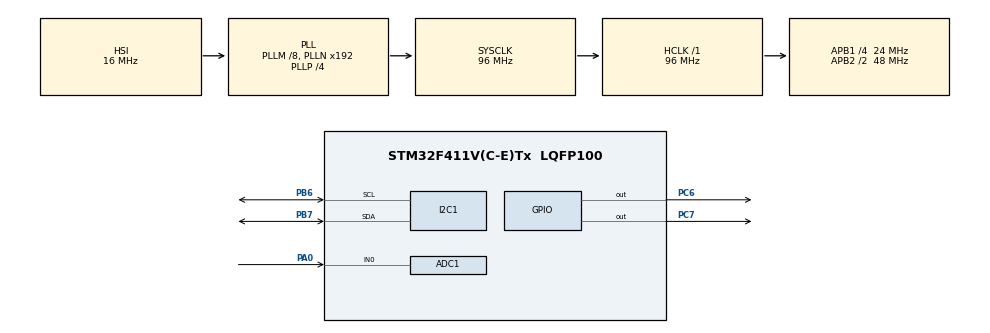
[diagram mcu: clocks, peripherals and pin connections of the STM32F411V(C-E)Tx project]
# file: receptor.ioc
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ADC1.Channel-0\#ChannelRegularConversion=ADC_CHANNEL_0
ADC1.NbrOfConversionFlag=1
ADC1.Rank-0\#ChannelRegularConversion=1
ADC1.SamplingTime-0\#ChannelRegularConversion=ADC_SAMPLETIME_3CYCLES
ADC1.master=1
Mcu.Family=STM32F4
Mcu.Name=STM32F411V(C-E)Tx
Mcu.Package=LQFP100
NVIC.PriorityGroup=NVIC_PRIORITYGROUP_0
PA0-WKUP.Signal=ADCx_IN0
PB6.Mode=I2C
PB6.Signal=I2C1_SCL
PB7.Mode=I2C
PB7.Signal=I2C1_SDA
PC6.Signal=GPIO_Output
PC7.Signal=GPIO_Output
ProjectManager.HeapSize=0x200
ProjectManager.StackSize=0x400
ProjectManager.TargetToolchain=STM32CubeIDE
RCC.48MHZClocksFreq_Value=48000000
RCC.AHBFreq_Value=96000000
RCC.APB1CLKDivider=RCC_HCLK_DIV4
RCC.APB1Freq_Value=24000000
RCC.APB1TimFreq_Value=48000000
RCC.APB2CLKDivider=RCC_HCLK_DIV2
RCC.APB2Freq_Value=48000000
RCC.APB2TimFreq_Value=96000000
RCC.CortexFreq_Value=96000000
RCC.HCLKFreq_Value=96000000
RCC.HSE_VALUE=8000000
RCC.HSI_VALUE=16000000
RCC.LSE_VALUE=32768
RCC.PLLI2SM=5
RCC.PLLI2SN=200
RCC.PLLM=8
RCC.PLLP=RCC_PLLP_DIV4
RCC.PLLQ=8
RCC.SYSCLKFreq_VALUE=96000000
RCC.SYSCLKSource=RCC_SYSCLKSOURCE_PLLCLK
RCC.VCOOutputFreq_Value=384000000
SH.ADCx_IN0.0=ADC1_IN0,IN0
board=STM32F411E-DISCO

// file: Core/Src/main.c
/* USER CODE BEGIN Header */
/**
  ******************************************************************************
  * @file           : main.c
  * @brief          : Main program body
  ******************************************************************************
  * @attention
  *
  * Copyright (c) 2024 STMicroelectronics.
  * All rights reserved.
  *
  * This software is licensed under terms that can be found in the LICENSE file
  * in the root directory of this software component.
  * If no LICENSE file comes with this software, it is provided AS-IS.
  *
  ******************************************************************************
  */
/* USER CODE END Header */
#include "main.h"

/* USER CODE BEGIN Includes */
#include "ssd1306.h"
#include <stdio.h>
#include <string.h>
#include <stdlib.h>
#include <math.h>

#define T_PUNTO 200 //Tiempo máximo del punto
#define T_RAYA 400 //Tiempo máximo de la raya
#define T_PR 200 //Tiempo máximo apagado entre códigos
#define T_CARACTER 400 //Tiempo máximo entre caracteres
#define T_PALABRA 750 //Tiempo máximo entre palabras
/* USER CODE END Includes */

ADC_HandleTypeDef hadc1;

I2C_HandleTypeDef hi2c1;

void SystemClock_Config(void);
static void MX_GPIO_Init(void);
static void MX_I2C1_Init(void);
static void MX_ADC1_Init(void);

/* USER CODE BEGIN 0 */
char car[8]="";
uint32_t luz=0;
enum estado {X0,X1,X2,X3,X4,X5,X6};
enum estado estado_act, estado_sig;

char cact[5] = "", csig[5] = "****"; //Secuencias de . -
volatile char pact[10] = ""; //Secuencias de caracteres
volatile char pr1[10] ="";
volatile char pr2[10] ="";
volatile char pr3[10] ="";
char psig[10] = "*********"; //Secuencias de caracteres

uint32_t pos_csig = 0, pos_psig = 0;
uint8_t cleido = 0, pleida = 0;

volatile char frase_recv[64] = "";
volatile char frase_inter[64] = "";
volatile char frase_recv_m[256] = "";

volatile uint8_t mensaje_completo = 0;

///Mi codigo
int row = 1;
//(

void eliminarAsteriscos(char* orig){
	int len = strlen(orig);

	for(int i=0; i<len; i++){
		if(orig[i] == '*')
			orig[i] = ' ';
	}
}

char morse2asci(char* car){
	char asci;

	//Decoder
	if(car[0] == '.'){
		if(car[1] == '.'){
			if(car[2] == '.'){
				if(car[3] == '.'){
					asci = 'H'; //....
				}
				else if(car[3] == '-'){
					asci = 'V'; //...-
				}
				else asci = 'S'; // ...
			}
			else if(car[2] == '-'){
				if(car[3] == '.'){
					asci = 'F'; //..-.
				}
				else if(car[3] == '-'){
					asci = '*'; //..-- no existe
				}
				else asci = 'U'; // ..-
			}
			else asci = 'I'; // ..
		}
		else if(car[1] == '-'){
			if(car[2] == '.'){
				if(car[3] == '.'){
					asci = 'L'; //.-..
				}
				else if(car[3] == '-'){
					asci = '*'; // .-.- no existe
				}
				else asci = 'R'; // .-.
			}
			else if(car[2] == '-'){
				if(car[3] == '.'){
					asci = 'P'; //.--.
				}
				else if(car[3] == '-'){
					asci = 'J'; //.---
				}
				else asci = 'W'; // .--
			}
			else asci = 'A'; //.-
		}
		else asci = 'E'; // .
	}
	else if(car[0] == '-'){
		if(car[1] == '.'){
			if(car[2] == '.'){
				if(car[3] == '.'){
					asci = 'B'; //-...
				}
				else if(car[3] == '-'){
					asci = 'X'; //-..-
				}
				else asci = 'D'; // -..
			}
			else if(car[2] == '-'){
				if(car[3] == '.'){
					asci = 'C'; //-.-.
				}
				else if(car[3] == '-'){
					asci = 'Y'; //-.--
				}
				else asci = 'K'; // -.-
			}
			else asci = 'N'; //-.
		}
		else if(car[1] == '-'){
			if(car[2] == '.'){
				if(car[3] == '.'){
					asci = 'Z'; //--..
				}
				else if(car[3] == '-'){
					asci = 'Q'; //--.-
				}
				else asci = 'G'; // --.
			}
			else if(car[2] == '-'){
				if(car[3] == '.'){
					asci = '*'; //---. no existe
				}
				else if(car[3] == '-'){
					asci = '*'; //---- no existe
				}
				else asci = 'O'; // ---
			}
			else asci = 'M'; // --
		}
		else asci = 'T'; // -
	}
	return asci;
}

/* USER CODE END 0 */

int main(void)
{

  /* MCU Configuration--------------------------------------------------------*/

  /* Reset of all peripherals, Initializes the Flash interface and the Systick. */
  HAL_Init();

  /* Configure the system clock */
  SystemClock_Config();

  /* Initialize all configured peripherals */
  MX_GPIO_Init();
  MX_I2C1_Init();
  MX_ADC1_Init();
  /* USER CODE BEGIN 2 */
  ssd1306_Init();
  uint32_t tact = 0, tim2=0, tim3=0;

  /* USER CODE END 2 */

  /* Infinite loop */
  while (1)
  {

    /* USER CODE BEGIN 3 */
	  ssd1306_Fill(Black);
	if(row == 1)
		{
		strcpy(pr1, pact);
			#ifdef SSD1306_INCLUDE_FONT_16x26
			uint8_t y = 0;
			ssd1306_SetCursor(2, y);
			ssd1306_WriteString(pr1, Font_16x26, White);
			#endif
		}
	else if(row == 2)
		{
		strcpy(pr2, pact);
			#ifdef SSD1306_INCLUDE_FONT_16x26
			uint8_t y = 40;
			ssd1306_SetCursor(2, y);
			ssd1306_WriteString(pr2, Font_16x26, White);
			#endif
		}
	else if(row == 3)
			{
			strcpy(pr3, pact);
				#ifdef SSD1306_INCLUDE_FONT_16x26
				uint8_t y = 90;
				ssd1306_SetCursor(2, y);
				ssd1306_WriteString(pr3, Font_16x26, White);
				#endif
			}
	else{
		row = 0;
		#ifdef SSD1306_INCLUDE_FONT_16x26
		#endif
		ssd1306_UpdateScreen();
		//CONTROL RECEPCION COMPLETADA
		HAL_GPIO_WritePin(GPIOC,GPIO_PIN_7,0);
		HAL_GPIO_WritePin(GPIOC, GPIO_PIN_6,1);
		HAL_Delay(3000);
	}
	 /* Codigo Bueno
	 uint8_t y = 0;
		 ssd1306_Fill(Black);
		 #ifdef SSD1306_INCLUDE_FONT_16x26
		 ssd1306_SetCursor(2, y);
		 ssd1306_WriteString(pact, Font_16x26, White);
		 #endif
		 ssd1306_UpdateScreen();
		 */
	HAL_GPIO_WritePin(GPIOC,GPIO_PIN_7,1); //LED de confrimacion de mensaje transmitiendose
	HAL_GPIO_WritePin(GPIOC, GPIO_PIN_6,0);//LED de confirmacion de mensaje recibido

	  	  HAL_ADC_Start(&hadc1);
	  	  if(HAL_ADC_PollForConversion(&hadc1, 1000)==HAL_OK){
	  		  luz=HAL_ADC_GetValue(&hadc1);
	  	  }
	  	  HAL_ADC_Stop(&hadc1);

	  	  if(estado_act == X0){
	  		  if(luz < 2000) {
	  			  estado_sig = X1;
	  			  tim2 = HAL_GetTick();
	  		  }
	  		  else estado_sig = X0;
	  	  }
	  	  else if(estado_act == X1){
	  		  if(tact - tim2 > T_PUNTO && tact - tim2 < T_RAYA && luz > 2000){ //Lee raya
	  			  estado_sig = X2;
	  			  tim2 = 0;
	  			  tim3 = HAL_GetTick();
	  			  csig[pos_csig] = '-';
	  		  }
	  		  else if(tact - tim2 < T_PUNTO && luz > 2000){ //Lee punto
	  			  estado_sig = X3;
	  			  tim2 = 0;
	  			  tim3 = HAL_GetTick();
	  			  csig[pos_csig] = '.';
	  		  }
	  		  else if(tact - tim2 > T_RAYA){ //Error tiempo encendido
	  			  estado_sig = X4;
	  			  tim2 = 0;
	  			  cleido = 1; //Lee el caracter y palabra actuales
	  			  pleida = 1;
	  		  }
	  		  else estado_sig=X1;
	  	  }
	  	  else if(estado_act == X2){
	  		  if(tact - tim3 > T_PALABRA){ //Error tiempo apagado
	  			  estado_sig = X0;
	  			  tim2 = 0;
	  			  tim3 = 0;
	  			  cleido = 1;
	  			  pleida = 1;
	  		  }
	  		  else if(luz < 2000 && tact - tim3 < T_PR){ //Siguiente punto/raya del caracter
	  			  estado_sig = X1;
	  			  tim3 = 0;
	  			  tim2 = HAL_GetTick();
	  			  pos_csig++; //Siguiente punto/raya del caracter
	  		  }
	  		  else if(luz < 2000 && tact - tim3 > T_PR && tact - tim3 < T_CARACTER){ //Siguiente caracter
	  			  estado_sig = X1;
	  			  tim3 = 0;
	  			  tim2 = HAL_GetTick();
	  			  cleido = 1; //Caracter leido --> Tratamiento del caracter
	  		  }
	  		  else if(luz < 2000 && tact - tim3 > T_CARACTER && tact - tim3 < T_PALABRA){ //Siguiente palabra
	  			  estado_sig = X1;
	  			  tim3 = 0;
	  			  tim2 = HAL_GetTick();
	  			  cleido = 1;
	  			  pleida = 1; //Palabra leída --> Tratamiento de la palabra
	  		  }
	  		  else estado_sig = X2;
	  	  }
	  	  else if(estado_act == X3){
	  		  if(tact - tim3 > T_PALABRA){ //Error tiempo apagado
	  			  estado_sig = X0;
	  			  tim2 = 0;
	  			  tim3 = 0;
	  			  cleido = 1;
	  			  pleida = 1;
	  		  }
	  		  else if(luz < 2000 && tact - tim3 < T_PR){ //Siguiente punto/raya del caracter
	  			  estado_sig = X1;
	  			  tim3 = 0;
	  			  tim2 = HAL_GetTick();
	  			  pos_csig++; //Siguiente punto/raya del caracter
	  		  }
	  		  else if(luz < 2000 && tact - tim3 > T_PR && tact - tim3 < T_CARACTER){ //Siguiente caracter
	  			  estado_sig = X1;
	  			  tim3 = 0;
	  			  tim2 = HAL_GetTick();
	  			  cleido = 1; //Caracter leido --> Tratamiento del caracter
	  		  }
	  		  else if(luz < 2000 && tact - tim3 > T_CARACTER && tact - tim3 < T_PALABRA){ //Siguiente palabra
	  			  estado_sig = X1;
	  			  tim3 = 0;
	  			  tim2 = HAL_GetTick();
	  			  cleido = 1;
	  			  pleida = 1; //Palabra leída --> Tratamiento de la palabra
	  		  }
	  		  else estado_sig = X3;
	  	  	  }
	  	  else if(estado_act == X4){
	  		  if(luz > 2000) {
	  			  estado_sig = X0;
	  			  pos_csig = 0; //Reinicia a 0 las posiciones
	  			  pos_psig = 0;
	  		  }
	  		  else estado_sig = X4;
	  	  }

	  	  estado_act = estado_sig;

	  	  if(cleido){
	  		  strcpy(cact, csig);
	  		  strcpy(csig, "****");
	  		  psig[pos_psig] = morse2asci(cact);
	  		  pos_psig++; //Siguiente caracter de la palabra
	  		  cleido = 0;
	  		  pos_csig = 0; //Empieza un nuevo caracter
	  	  }
	  	  if(pleida){
	  		  strcpy(pact, psig);
	  		  strcpy(psig, "*********");
	  		  pleida = 0;
	  		  pos_psig = 0; //Empieza una nueva palabra

	  		  eliminarAsteriscos(pact);
	  	  }
	  	  row++;
  }
  /* USER CODE END 3 */
}

void SystemClock_Config(void)
{
  RCC_OscInitTypeDef RCC_OscInitStruct = {0};
  RCC_ClkInitTypeDef RCC_ClkInitStruct = {0};

  /** Configure the main internal regulator output voltage
  */
  __HAL_RCC_PWR_CLK_ENABLE();
  __HAL_PWR_VOLTAGESCALING_CONFIG(PWR_REGULATOR_VOLTAGE_SCALE1);

  /** Initializes the RCC Oscillators according to the specified parameters
  * in the RCC_OscInitTypeDef structure.
  */
  RCC_OscInitStruct.OscillatorType = RCC_OSCILLATORTYPE_HSI;
  RCC_OscInitStruct.HSIState = RCC_HSI_ON;
  RCC_OscInitStruct.HSICalibrationValue = RCC_HSICALIBRATION_DEFAULT;
  RCC_OscInitStruct.PLL.PLLState = RCC_PLL_ON;
  RCC_OscInitStruct.PLL.PLLSource = RCC_PLLSOURCE_HSI;
  RCC_OscInitStruct.PLL.PLLM = 8;
  RCC_OscInitStruct.PLL.PLLN = 192;
  RCC_OscInitStruct.PLL.PLLP = RCC_PLLP_DIV4;
  RCC_OscInitStruct.PLL.PLLQ = 8;
  if (HAL_RCC_OscConfig(&RCC_OscInitStruct) != HAL_OK)
  {
    Error_Handler();
  }

  /** Initializes the CPU, AHB and APB buses clocks
  */
  RCC_ClkInitStruct.ClockType = RCC_CLOCKTYPE_HCLK|RCC_CLOCKTYPE_SYSCLK
                              |RCC_CLOCKTYPE_PCLK1|RCC_CLOCKTYPE_PCLK2;
  RCC_ClkInitStruct.SYSCLKSource = RCC_SYSCLKSOURCE_PLLCLK;
  RCC_ClkInitStruct.AHBCLKDivider = RCC_SYSCLK_DIV1;
  RCC_ClkInitStruct.APB1CLKDivider = RCC_HCLK_DIV4;
  RCC_ClkInitStruct.APB2CLKDivider = RCC_HCLK_DIV2;

  if (HAL_RCC_ClockConfig(&RCC_ClkInitStruct, FLASH_LATENCY_3) != HAL_OK)
  {
    Error_Handler();
  }
}

static void MX_ADC1_Init(void)
{

  ADC_ChannelConfTypeDef sConfig = {0};

  /** Configure the global features of the ADC (Clock, Resolution, Data Alignment and number of conversion)
  */
  hadc1.Instance = ADC1;
  hadc1.Init.ClockPrescaler = ADC_CLOCK_SYNC_PCLK_DIV2;
  hadc1.Init.Resolution = ADC_RESOLUTION_12B;
  hadc1.Init.ScanConvMode = DISABLE;
  hadc1.Init.ContinuousConvMode = DISABLE;
  hadc1.Init.DiscontinuousConvMode = DISABLE;
  hadc1.Init.ExternalTrigConvEdge = ADC_EXTERNALTRIGCONVEDGE_NONE;
  hadc1.Init.ExternalTrigConv = ADC_SOFTWARE_START;
  hadc1.Init.DataAlign = ADC_DATAALIGN_RIGHT;
  hadc1.Init.NbrOfConversion = 1;
  hadc1.Init.DMAContinuousRequests = DISABLE;
  hadc1.Init.EOCSelection = ADC_EOC_SINGLE_CONV;
  if (HAL_ADC_Init(&hadc1) != HAL_OK)
  {
    Error_Handler();
  }

  /** Configure for the selected ADC regular channel its corresponding rank in the sequencer and its sample time.
  */
  sConfig.Channel = ADC_CHANNEL_0;
  sConfig.Rank = 1;
  sConfig.SamplingTime = ADC_SAMPLETIME_3CYCLES;
  if (HAL_ADC_ConfigChannel(&hadc1, &sConfig) != HAL_OK)
  {
    Error_Handler();
  }

}

static void MX_I2C1_Init(void)
{

  hi2c1.Instance = I2C1;
  hi2c1.Init.ClockSpeed = 100000;
  hi2c1.Init.DutyCycle = I2C_DUTYCYCLE_2;
  hi2c1.Init.OwnAddress1 = 0;
  hi2c1.Init.AddressingMode = I2C_ADDRESSINGMODE_7BIT;
  hi2c1.Init.DualAddressMode = I2C_DUALADDRESS_DISABLE;
  hi2c1.Init.OwnAddress2 = 0;
  hi2c1.Init.GeneralCallMode = I2C_GENERALCALL_DISABLE;
  hi2c1.Init.NoStretchMode = I2C_NOSTRETCH_DISABLE;
  if (HAL_I2C_Init(&hi2c1) != HAL_OK)
  {
    Error_Handler();
  }

}

static void MX_GPIO_Init(void)
{
  GPIO_InitTypeDef GPIO_InitStruct = {0};

  /* GPIO Ports Clock Enable */
  __HAL_RCC_GPIOA_CLK_ENABLE();
  __HAL_RCC_GPIOC_CLK_ENABLE();
  __HAL_RCC_GPIOB_CLK_ENABLE();

  /*Configure GPIO pin Output Level */
  HAL_GPIO_WritePin(GPIOC, GPIO_PIN_6|GPIO_PIN_7, GPIO_PIN_RESET);

  /*Configure GPIO pins : PC6 PC7 */
  GPIO_InitStruct.Pin = GPIO_PIN_6|GPIO_PIN_7;
  GPIO_InitStruct.Mode = GPIO_MODE_OUTPUT_PP;
  GPIO_InitStruct.Pull = GPIO_NOPULL;
  GPIO_InitStruct.Speed = GPIO_SPEED_FREQ_LOW;
  HAL_GPIO_Init(GPIOC, &GPIO_InitStruct);

}

void Error_Handler(void)
{
  __disable_irq();
  while (1)
  {
  }
}
